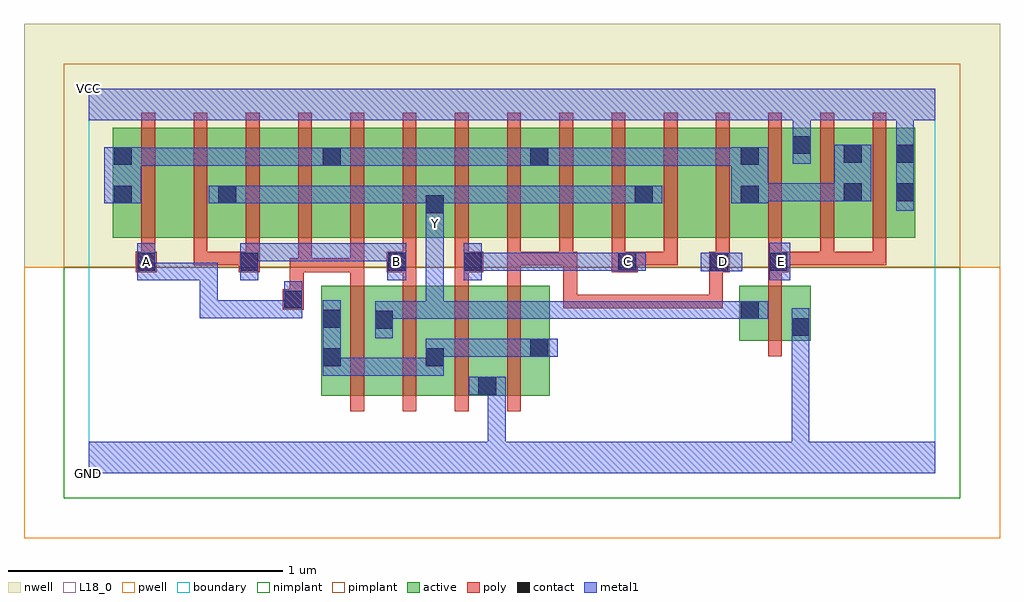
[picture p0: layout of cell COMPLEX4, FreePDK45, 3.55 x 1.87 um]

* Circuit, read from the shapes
.subckt COMPLEX4 A B C D E GND VCC Y
M1 Y A n1 VSUBS nfet w=0.4u l=0.05u
M2 n1 B Y VSUBS nfet w=0.4u l=0.05u
M3 GND C n1 VSUBS nfet w=0.4u l=0.05u
M4 n1 D GND VSUBS nfet w=0.4u l=0.05u
M5 GND E Y VSUBS nfet w=0.2u l=0.05u
M6 n2 A n3 n4 pfet w=0.4u l=0.05u
M7 Y B n2 n4 pfet w=0.4u l=0.05u
M8 n5 B Y n4 pfet w=0.4u l=0.05u
M9 n3 A n5 n4 pfet w=0.4u l=0.05u
M10 n6 A n3 n4 pfet w=0.4u l=0.05u
M11 Y B n6 n4 pfet w=0.4u l=0.05u
M12 n7 C Y n4 pfet w=0.4u l=0.05u
M13 n3 D n7 n4 pfet w=0.4u l=0.05u
M14 n8 D n3 n4 pfet w=0.4u l=0.05u
M15 Y C n8 n4 pfet w=0.4u l=0.05u
M16 n9 C Y n4 pfet w=0.4u l=0.05u
M17 n3 D n9 n4 pfet w=0.4u l=0.05u
M18 VCC E n3 n4 pfet w=0.4u l=0.05u m=3
.ends

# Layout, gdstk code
import gdstk
lib = gdstk.Library(unit=1e-6, precision=1e-09)
def R(c, l, rs):  # rectangles x0, y0, x1, y1
    for r in rs: c.add(gdstk.rectangle(r[:2], r[2:], *l))
def A(c, l, x, y, w, h, nx, ny, dx, dy):  # array of equal rectangles
    R(c, l, [(x+i*dx, y+j*dy, x+i*dx+w, y+j*dy+h) for i in range(nx) for j in range(ny)])
active = (1, 0)
pwell = (2, 0)
nwell = (3, 0)
nimplant = (4, 0)
pimplant = (5, 0)
poly = (9, 0)
contact = (10, 0)
metal1 = (11, 0)
L18_0 = (18, 0)
boundary = (235, 0)

complex4 = lib.new_cell('COMPLEX4')
A(complex4, active, 0.087, 0.857, 0.225, 0.4, 3, 1, 0.38, 0)
A(complex4, active, 1.072, 0.857, 0.225, 0.4, 3, 1, 0.38, 0)
A(complex4, active, 1.222, 0.857, 0.23, 0.4, 3, 1, 0.38, 0)
R(complex4, active, [(0.847,0.282,1.112,0.682), (1.037,0.282,1.297,0.682), (1.222,0.282,1.487,0.682), (1.412,0.282,1.677,0.682), (1.412,0.282,1.487,0.492), (1.602,0.282,1.677,0.68), (0.847,0.295,0.922,0.682), (1.037,0.295,1.112,0.597), (1.222,0.295,1.297,0.597), (2.367,0.482,2.627,0.682), (2.367,0.495,2.442,0.682), (2.552,0.495,2.627,0.682), (0.087,0.857,0.192,1.2), (0.312,0.857,0.542,1.257), (0.692,0.857,0.922,1.257), (2.212,0.857,2.442,1.257), (2.367,0.857,2.632,1.257), (2.557,0.857,2.817,1.257), (2.742,0.857,3.007,1.257), (2.932,0.857,3.007,1.205), (0.467,0.907,0.542,1.07), (0.847,0.907,0.922,1.2), (1.222,0.907,1.297,1.07), (1.602,0.907,1.677,1.2), (1.982,0.907,2.057,1.07), (2.367,0.907,2.442,1.2), (2.557,0.907,2.632,1.257), (2.742,0.907,2.817,1.2)])
R(complex4, pwell, [(-0.235,-0.235,3.315,0.75)])
R(complex4, nwell, [(-0.235,0.75,3.315,1.635)])
R(complex4, nimplant, [(-0.09,-0.09,3.17,0.75)])
R(complex4, pimplant, [(-0.09,0.75,3.17,1.49)])
A(complex4, poly, 0.952, 0.227, 0.05, 0.51, 4, 1, 0.19, 0)
A(complex4, poly, 0.952, 0.687, 0.05, 0.095, 3, 1, 0.19, 0)
A(complex4, poly, 0.192, 0.757, 0.05, 0.095, 3, 1, 0.19, 0)
A(complex4, poly, 1.142, 0.757, 0.05, 0.095, 10, 1, 0.19, 0)
A(complex4, poly, 0.192, 0.802, 0.05, 0.51, 15, 1, 0.19, 0)
R(complex4, poly, [(2.472,0.427,2.522,0.737), (0.707,0.595,0.782,0.67), (1.727,0.6,1.777,0.65), (1.727,0.6,1.777,0.65), (1.727,0.6,1.777,0.65), (1.727,0.6,1.91,0.65), (1.727,0.6,1.777,0.807), (1.86,0.6,1.91,0.65), (1.86,0.6,1.91,0.65), (1.86,0.6,1.91,0.65), (1.86,0.6,2.175,0.65), (2.125,0.6,2.175,0.65), (2.125,0.6,2.175,0.65), (2.125,0.6,2.175,0.65), (2.125,0.6,2.307,0.65), (2.257,0.6,2.307,0.65), (2.257,0.6,2.307,0.65), (2.257,0.6,2.307,0.65), (2.257,0.6,2.307,0.65), (2.257,0.6,2.307,0.65), (2.257,0.6,2.307,0.782), (0.732,0.62,0.782,0.67), (0.732,0.62,0.782,0.67), (0.732,0.62,0.782,0.782), (1.522,0.687,1.572,0.807), (2.472,0.687,2.522,0.782), (0.172,0.732,0.247,0.807), (0.547,0.732,0.622,0.807), (0.732,0.732,0.812,0.782), (0.762,0.732,1.002,0.782), (0.762,0.732,0.812,0.782), (0.762,0.732,0.812,0.782), (0.762,0.732,0.812,0.852), (0.952,0.732,1.002,0.782), (0.952,0.732,1.002,0.852), (1.085,0.732,1.192,0.807), (1.332,0.732,1.435,0.807), (1.902,0.732,1.997,0.807), (2.257,0.732,2.332,0.807), (2.472,0.732,2.547,0.807), (0.382,0.757,0.432,0.807), (0.382,0.757,0.597,0.807), (0.547,0.757,0.597,0.807), (0.547,0.757,0.597,0.807), (1.522,0.757,1.762,0.807), (1.522,0.757,1.572,0.807), (1.712,0.757,1.762,0.807), (1.712,0.757,1.762,0.807), (1.712,0.757,1.777,0.807), (1.947,0.757,2.142,0.807), (2.092,0.757,2.142,0.807), (2.092,0.757,2.142,0.807), (2.092,0.757,2.142,0.807), (2.497,0.757,2.547,0.807), (2.497,0.757,2.547,0.807), (2.497,0.757,2.712,0.807), (2.662,0.757,2.902,0.807), (2.662,0.757,2.712,0.807), (2.662,0.757,2.712,0.807), (2.662,0.757,2.712,0.807), (2.852,0.757,2.902,0.807)])
R(complex4, contact, [(1.417,0.287,1.482,0.352), (0.852,0.39,0.917,0.455), (1.227,0.39,1.292,0.455), (1.607,0.425,1.672,0.49), (2.557,0.5,2.622,0.565), (1.042,0.527,1.107,0.592), (0.852,0.53,0.917,0.595), (2.372,0.562,2.437,0.627), (0.712,0.6,0.777,0.665), (0.177,0.737,0.242,0.802), (0.552,0.737,0.617,0.802), (1.09,0.737,1.155,0.802), (1.365,0.737,1.43,0.802), (1.927,0.737,1.992,0.802), (2.262,0.737,2.327,0.802), (2.477,0.737,2.542,0.802), (1.227,0.947,1.292,1.012), (0.092,0.982,0.157,1.047), (0.472,0.982,0.537,1.047), (1.987,0.982,2.052,1.047), (2.372,0.982,2.437,1.047), (2.747,0.99,2.812,1.055), (2.937,0.99,3.002,1.055), (0.852,1.12,0.917,1.185), (1.607,1.12,1.672,1.185), (0.092,1.122,0.157,1.187), (2.372,1.122,2.437,1.187), (2.747,1.13,2.812,1.195), (2.937,1.13,3.002,1.195), (2.562,1.162,2.627,1.227)])
R(complex4, metal1, [(0,0,3.08,0.115), (1.452,0.05,1.517,0.115), (1.452,0.05,1.517,0.115), (1.452,0.05,1.517,0.352), (2.557,0.05,2.622,0.115), (2.557,0.05,2.622,0.115), (2.557,0.05,2.622,0.115), (2.557,0.05,2.622,0.115), (2.557,0.05,2.622,0.115), (2.557,0.05,2.622,0.115), (2.557,0.05,2.622,0.53), (1.382,0.287,1.517,0.352), (0.852,0.355,0.917,0.63), (0.852,0.355,0.917,0.42), (0.852,0.355,0.917,0.42), (0.852,0.355,1.155,0.42), (1.09,0.355,1.155,0.42), (1.09,0.355,1.155,0.42), (1.09,0.355,1.155,0.42), (1.09,0.355,1.292,0.42), (1.227,0.355,1.292,0.49), (1.227,0.425,1.43,0.49), (1.365,0.425,1.43,0.49), (1.365,0.425,1.43,0.49), (1.365,0.425,1.43,0.49), (1.365,0.425,1.567,0.49), (1.502,0.425,1.567,0.49), (1.502,0.425,1.637,0.49), (1.572,0.425,1.707,0.49), (2.557,0.465,2.622,0.6), (1.042,0.492,1.107,0.627), (1.042,0.562,1.107,0.627), (1.042,0.562,1.107,0.627), (1.042,0.562,1.292,0.627), (1.227,0.562,1.292,0.627), (1.227,0.562,1.43,0.627), (1.227,0.562,1.292,0.907), (1.365,0.562,1.43,0.627), (1.365,0.562,1.43,0.627), (1.365,0.562,1.43,0.627), (1.365,0.562,1.567,0.627), (1.502,0.562,1.567,0.627), (1.502,0.562,1.567,0.627), (1.502,0.562,1.567,0.627), (1.502,0.562,1.705,0.627), (1.64,0.562,1.705,0.627), (1.64,0.562,1.88,0.627), (1.815,0.562,1.88,0.627), (1.815,0.562,1.88,0.627), (1.815,0.562,1.88,0.627), (1.815,0.562,2.127,0.627), (2.062,0.562,2.127,0.627), (2.062,0.562,2.127,0.627), (2.062,0.562,2.127,0.627), (2.062,0.562,2.265,0.627), (2.2,0.562,2.265,0.627), (2.2,0.562,2.402,0.627), (2.337,0.562,2.402,0.627), (2.337,0.562,2.402,0.627), (2.337,0.562,2.472,0.627), (0.405,0.565,0.47,0.63), (0.405,0.565,0.607,0.63), (0.405,0.565,0.47,0.767), (0.542,0.565,0.607,0.63), (0.542,0.565,0.745,0.63), (0.68,0.565,0.745,0.63), (0.68,0.565,0.745,0.63), (0.68,0.565,0.745,0.63), (0.68,0.565,0.777,0.63), (0.712,0.565,0.777,0.7), (0.177,0.702,0.242,0.837), (0.177,0.702,0.33,0.767), (0.265,0.702,0.33,0.767), (0.265,0.702,0.47,0.767), (0.405,0.702,0.47,0.767), (0.405,0.702,0.47,0.767), (0.405,0.702,0.47,0.767), (0.552,0.702,0.617,0.837), (1.087,0.702,1.155,0.837), (1.365,0.702,1.43,0.837), (2.475,0.702,2.552,0.84), (2.227,0.735,2.377,0.802), (1.365,0.737,1.43,0.802), (1.365,0.737,1.43,0.802), (1.365,0.737,1.567,0.802), (1.502,0.737,1.567,0.802), (1.502,0.737,1.705,0.802), (1.64,0.737,1.705,0.802), (1.64,0.737,1.705,0.802), (1.64,0.737,1.705,0.802), (1.64,0.737,1.88,0.802), (1.815,0.737,1.88,0.802), (1.815,0.737,1.957,0.802), (1.892,0.737,2.027,0.802), (0.552,0.772,0.745,0.837), (0.68,0.772,0.745,0.837), (0.68,0.772,0.78,0.837), (0.715,0.772,0.78,0.837), (0.715,0.772,0.97,0.837), (0.905,0.772,0.97,0.837), (0.905,0.772,0.97,0.837), (0.905,0.772,0.97,0.837), (0.905,0.772,1.152,0.837), (1.087,0.772,1.152,0.837), (1.087,0.772,1.152,0.837), (1.227,0.842,1.292,0.977), (1.227,0.912,1.292,0.977), (1.227,0.912,1.292,1.047), (2.937,0.955,3.002,1.23), (0.057,0.982,0.192,1.187), (0.437,0.982,0.572,1.047), (0.507,0.982,0.607,1.047), (0.542,0.982,0.607,1.047), (0.542,0.982,0.71,1.047), (0.645,0.982,0.71,1.047), (0.645,0.982,0.78,1.047), (0.715,0.982,0.78,1.047), (0.715,0.982,0.917,1.047), (0.852,0.982,0.917,1.047), (0.852,0.982,0.917,1.047), (0.852,0.982,0.917,1.047), (0.852,0.982,1.107,1.047), (1.042,0.982,1.107,1.047), (1.042,0.982,1.107,1.047), (1.042,0.982,1.107,1.047), (1.042,0.982,1.292,1.047), (1.227,0.982,1.292,1.047), (1.227,0.982,1.292,1.047), (1.227,0.982,1.43,1.047), (1.365,0.982,1.43,1.047), (1.365,0.982,1.567,1.047), (1.502,0.982,1.567,1.047), (1.502,0.982,1.707,1.047), (1.642,0.982,1.707,1.047), (1.642,0.982,1.707,1.047), (1.642,0.982,1.707,1.047), (1.642,0.982,1.845,1.047), (1.78,0.982,1.845,1.047), (1.78,0.982,1.845,1.047), (1.78,0.982,1.845,1.047), (1.78,0.982,2.017,1.047), (1.952,0.982,2.087,1.047), (2.337,0.982,2.472,1.187), (2.407,0.99,2.61,1.055), (2.545,0.99,2.61,1.055), (2.545,0.99,2.61,1.055), (2.545,0.99,2.61,1.055), (2.545,0.99,2.777,1.055), (2.712,0.99,2.777,1.055), (2.712,0.99,2.777,1.055), (2.712,0.99,2.847,1.195), (0.127,1.12,0.192,1.185), (0.127,1.12,0.192,1.185), (0.127,1.12,0.33,1.185), (0.265,1.12,0.33,1.185), (0.265,1.12,0.33,1.185), (0.265,1.12,0.33,1.185), (0.265,1.12,0.467,1.185), (0.402,1.12,0.467,1.185), (0.402,1.12,0.467,1.185), (0.402,1.12,0.467,1.185), (0.402,1.12,0.607,1.185), (0.542,1.12,0.607,1.185), (0.542,1.12,0.745,1.185), (0.68,1.12,0.745,1.185), (0.68,1.12,0.78,1.185), (0.715,1.12,0.78,1.185), (0.715,1.12,0.882,1.185), (0.817,1.12,0.952,1.185), (0.887,1.12,0.952,1.185), (0.887,1.12,0.952,1.185), (0.887,1.12,1.155,1.185), (1.09,1.12,1.155,1.185), (1.09,1.12,1.155,1.185), (1.09,1.12,1.155,1.185), (1.09,1.12,1.292,1.185), (1.227,1.12,1.292,1.185), (1.227,1.12,1.43,1.185), (1.365,1.12,1.43,1.185), (1.365,1.12,1.43,1.185), (1.365,1.12,1.43,1.185), (1.365,1.12,1.567,1.185), (1.502,1.12,1.567,1.185), (1.502,1.12,1.637,1.185), (1.572,1.12,1.707,1.185), (1.642,1.12,1.707,1.185), (1.642,1.12,1.707,1.185), (1.642,1.12,1.88,1.185), (1.815,1.12,1.88,1.185), (1.815,1.12,1.88,1.185), (1.815,1.12,1.88,1.185), (1.815,1.12,2.127,1.185), (2.062,1.12,2.127,1.185), (2.062,1.12,2.127,1.185), (2.062,1.12,2.127,1.185), (2.062,1.12,2.265,1.185), (2.2,1.12,2.265,1.185), (2.2,1.12,2.265,1.185), (2.2,1.12,2.265,1.185), (2.2,1.12,2.265,1.185), (2.2,1.12,2.265,1.185), (2.2,1.12,2.402,1.185), (2.562,1.127,2.627,1.262), (2.937,1.165,3.002,1.35), (2.562,1.197,2.627,1.35), (0,1.285,3.08,1.4)])
R(complex4, L18_0, [(0,0,3.08,0.115), (1.452,0.05,1.517,0.115), (1.452,0.05,1.517,0.115), (1.452,0.05,1.517,0.352), (2.557,0.05,2.622,0.115), (2.557,0.05,2.622,0.115), (2.557,0.05,2.622,0.115), (2.557,0.05,2.622,0.115), (2.557,0.05,2.622,0.115), (2.557,0.05,2.622,0.115), (2.557,0.05,2.622,0.53), (1.382,0.287,1.517,0.352), (2.557,0.465,2.622,0.6), (1.042,0.492,1.107,0.627), (1.042,0.562,1.107,0.627), (1.042,0.562,1.107,0.627), (1.042,0.562,1.292,0.627), (1.227,0.562,1.292,0.627), (1.227,0.562,1.43,0.627), (1.227,0.562,1.292,0.907), (1.365,0.562,1.43,0.627), (1.365,0.562,1.43,0.627), (1.365,0.562,1.43,0.627), (1.365,0.562,1.567,0.627), (1.502,0.562,1.567,0.627), (1.502,0.562,1.567,0.627), (1.502,0.562,1.567,0.627), (1.502,0.562,1.705,0.627), (1.64,0.562,1.705,0.627), (1.64,0.562,1.88,0.627), (1.815,0.562,1.88,0.627), (1.815,0.562,1.88,0.627), (1.815,0.562,1.88,0.627), (1.815,0.562,2.127,0.627), (2.062,0.562,2.127,0.627), (2.062,0.562,2.127,0.627), (2.062,0.562,2.127,0.627), (2.062,0.562,2.265,0.627), (2.2,0.562,2.265,0.627), (2.2,0.562,2.402,0.627), (2.337,0.562,2.402,0.627), (2.337,0.562,2.402,0.627), (2.337,0.562,2.472,0.627), (0.405,0.565,0.47,0.63), (0.405,0.565,0.47,0.767), (0.405,0.565,0.607,0.63), (0.542,0.565,0.607,0.63), (0.542,0.565,0.745,0.63), (0.68,0.565,0.745,0.63), (0.68,0.565,0.745,0.63), (0.68,0.565,0.745,0.63), (0.68,0.565,0.777,0.63), (0.712,0.565,0.777,0.7), (0.177,0.702,0.242,0.837), (0.177,0.702,0.33,0.767), (0.265,0.702,0.33,0.767), (0.265,0.702,0.47,0.767), (0.405,0.702,0.47,0.767), (0.405,0.702,0.47,0.767), (0.405,0.702,0.47,0.767), (0.552,0.702,0.617,0.837), (1.087,0.702,1.155,0.837), (1.365,0.702,1.43,0.837), (2.475,0.702,2.552,0.84), (2.227,0.735,2.377,0.802), (0.177,0.737,0.242,0.802), (1.087,0.737,1.152,0.802), (1.365,0.737,1.43,0.802), (1.365,0.737,1.43,0.802), (1.365,0.737,1.567,0.802), (1.502,0.737,1.567,0.802), (1.502,0.737,1.705,0.802), (1.64,0.737,1.705,0.802), (1.64,0.737,1.705,0.802), (1.64,0.737,1.705,0.802), (1.64,0.737,1.88,0.802), (1.815,0.737,1.88,0.802), (1.815,0.737,1.957,0.802), (1.892,0.737,2.027,0.802), (1.927,0.737,1.992,0.802), (2.277,0.737,2.342,0.802), (2.487,0.737,2.552,0.802), (0.552,0.772,0.745,0.837), (0.68,0.772,0.745,0.837), (0.68,0.772,0.78,0.837), (0.715,0.772,0.78,0.837), (0.715,0.772,0.97,0.837), (0.905,0.772,0.97,0.837), (0.905,0.772,0.97,0.837), (0.905,0.772,0.97,0.837), (0.905,0.772,1.152,0.837), (1.087,0.772,1.152,0.837), (1.087,0.772,1.152,0.837), (1.227,0.842,1.292,0.977), (1.227,0.877,1.292,0.942), (1.227,0.912,1.292,1.047), (1.227,0.912,1.292,0.977), (2.937,0.955,3.002,1.23), (0.437,0.982,0.572,1.047), (0.507,0.982,0.607,1.047), (0.542,0.982,0.607,1.047), (0.542,0.982,0.71,1.047), (0.645,0.982,0.71,1.047), (0.645,0.982,0.78,1.047), (0.715,0.982,0.78,1.047), (0.715,0.982,0.917,1.047), (0.852,0.982,0.917,1.047), (0.852,0.982,0.917,1.047), (0.852,0.982,0.917,1.047), (0.852,0.982,1.107,1.047), (1.042,0.982,1.107,1.047), (1.042,0.982,1.107,1.047), (1.042,0.982,1.107,1.047), (1.042,0.982,1.292,1.047), (1.227,0.982,1.292,1.047), (1.227,0.982,1.292,1.047), (1.227,0.982,1.43,1.047), (1.365,0.982,1.43,1.047), (1.365,0.982,1.567,1.047), (1.502,0.982,1.567,1.047), (1.502,0.982,1.707,1.047), (1.642,0.982,1.707,1.047), (1.642,0.982,1.707,1.047), (1.642,0.982,1.707,1.047), (1.642,0.982,1.845,1.047), (1.78,0.982,1.845,1.047), (1.78,0.982,1.845,1.047), (1.78,0.982,1.845,1.047), (1.78,0.982,2.017,1.047), (1.952,0.982,2.087,1.047), (2.562,1.127,2.627,1.262), (2.937,1.165,3.002,1.35), (2.562,1.197,2.627,1.35), (0,1.285,3.08,1.4)])
R(complex4, boundary, [(0,0,3.08,1.4)])
complex4.add(gdstk.Label('A', (0.21,0.77), layer=11, texttype=0))
complex4.add(gdstk.Label('B', (1.12,0.77), layer=11, texttype=0))
complex4.add(gdstk.Label('C', (1.96,0.77), layer=11, texttype=0))
complex4.add(gdstk.Label('D', (2.31,0.77), layer=11, texttype=0))
complex4.add(gdstk.Label('E', (2.52,0.77), layer=11, texttype=0))
complex4.add(gdstk.Label('Y', (1.26,0.91), layer=11, texttype=0))
complex4.add(gdstk.Label('VCC', (0,1.4), layer=11, texttype=0))
complex4.add(gdstk.Label('GND', (0,0), layer=11, texttype=0))

lib.write_gds('COMPLEX4.gds')
